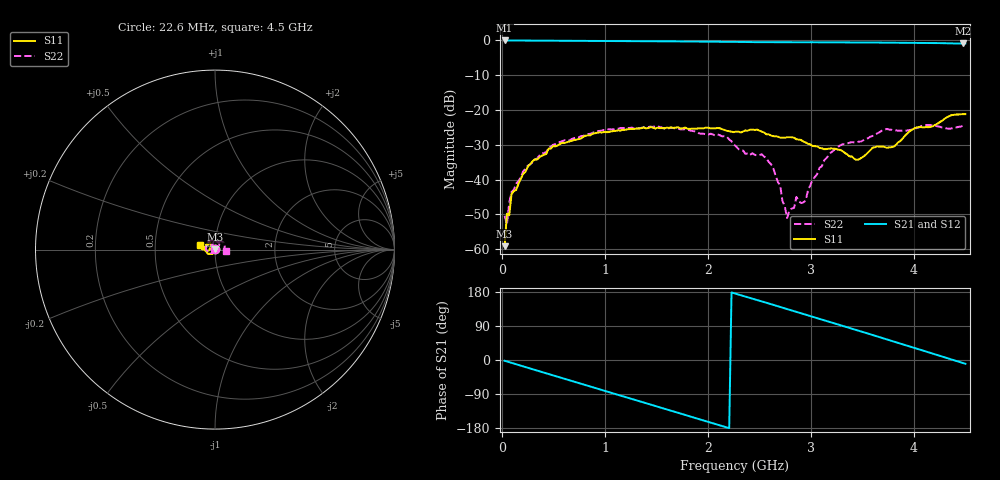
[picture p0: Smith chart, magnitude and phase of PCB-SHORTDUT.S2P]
!Agilent Technologies,E5071C,MY46101151,A.11.34
!Date: Mon Sep 17 23:09:52 2018
!Data & Calibration Information:
!Freq	S11:SOLT2(ON)	S21:SOLT2(ON)	S12:SOLT2(ON)	S22:SOLT2(ON)
!PortZ  Port1:50+j0  Port2:50+j0
!Above PortZ is port z conversion or system Z0 setting when saving the data.
!When reading, reference impedance value at option line is always used.
# Hz S dB R 50
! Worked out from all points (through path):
!   200 points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, 22.6 MHz to 4.5 GHz, reference 50 ohm
!   highest |S21| = 0.01 dB at 22.6 MHz (marker M1); lowest = -0.9 dB at 4.478 GHz (marker M2)
!   group delay of S21, straight-line fit = 227 ps
!   lowest |S11| = -59.1 dB at 22.6 MHz (marker M3), VSWR 1.00, Z = 50 + j0.11 ohm
!   |S11| at or under -10 dB: start of sweep to end of sweep
!   |S22| runs from -52.9 to -24.2 dB; largest |S21 - S12| = 0.0017
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2.25995e7  -59.14 88.3  0.01 -2.0  0.01 -2.0  -50.40 103.8
4.5099e7  -49.82 -127.8  0.00 -3.8  0.00 -3.9  -52.91 -120.1
6.75985e7  -50.25 -111.3  -0.00 -5.7  -0.00 -5.7  -46.64 -110.1
9.0098e7  -44.12 -105.3  -0.00 -7.5  -0.00 -7.5  -43.52 -120.7
2.475945e8  -36.31 -118.1  -0.02 -20.5  -0.02 -20.4  -36.02 -120.5
7.875825e8  -27.69 -144.0  -0.11 -64.5  -0.10 -64.5  -27.44 -170.7
1.147574e9  -25.89 -169.9  -0.15 -93.8  -0.15 -93.8  -25.19 154.3
1.530066e9  -25.20 171.7  -0.22 -124.9  -0.22 -124.9  -24.88 115.3
1.890058e9  -25.34 155.9  -0.31 -154.3  -0.30 -154.3  -26.35 82.8
2.27255e9  -26.20 144.8  -0.39 174.5  -0.39 174.5  -30.47 45.1
2.610042e9  -27.33 128.2  -0.46 147.4  -0.46 147.4  -35.55 29.0
2.70004e9  -27.93 129.1  -0.48 140.0  -0.47 140.0  -41.65 14.7
2.767538e9  -27.81 128.4  -0.51 134.5  -0.50 134.5  -51.04 66.1
2.857536e9  -28.40 121.3  -0.51 127.2  -0.51 127.3  -44.97 86.9
2.947534e9  -29.31 122.2  -0.52 120.0  -0.51 119.9  -46.03 130.1
3.015033e9  -30.34 125.1  -0.51 114.4  -0.50 114.4  -40.03 148.8
3.262528e9  -31.40 132.7  -0.57 93.9  -0.56 93.9  -30.56 129.3
3.442524e9  -34.32 149.9  -0.57 79.1  -0.56 79.1  -29.36 111.9
3.757516e9  -30.76 172.6  -0.61 52.7  -0.61 52.8  -25.60 81.8
4.140008e9  -24.94 177.1  -0.70 20.4  -0.69 20.4  -24.30 38.0
4.4775e9  -21.19 163.7  -0.86 -8.1  -0.84 -8.0  -24.47 -3.8
4.5e9  -21.17 163.0  -0.85 -10.0  -0.84 -9.9  -24.21 -8.5
